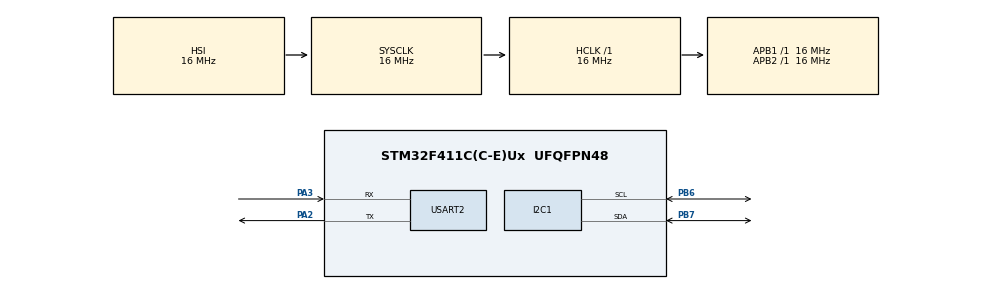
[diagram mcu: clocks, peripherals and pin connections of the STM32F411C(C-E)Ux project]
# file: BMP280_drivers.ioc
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Mcu.Family=STM32F4
Mcu.Name=STM32F411C(C-E)Ux
Mcu.Package=UFQFPN48
NVIC.PriorityGroup=NVIC_PRIORITYGROUP_4
PA2.Mode=Asynchronous
PA2.Signal=USART2_TX
PA3.Mode=Asynchronous
PA3.Signal=USART2_RX
PB6.Mode=I2C
PB6.Signal=I2C1_SCL
PB7.Mode=I2C
PB7.Signal=I2C1_SDA
ProjectManager.HeapSize=0x200
ProjectManager.StackSize=0x400
ProjectManager.TargetToolchain=STM32CubeIDE
RCC.AHBFreq_Value=16000000
RCC.APB1Freq_Value=16000000
RCC.APB2Freq_Value=16000000
RCC.CortexFreq_Value=16000000
RCC.HSE_VALUE=25000000
RCC.HSI_VALUE=16000000
RCC.LSE_VALUE=32768
RCC.SYSCLKFreq_VALUE=16000000
RCC.VCOOutputFreq_Value=192000000
USART2.VirtualMode=VM_ASYNC
board=custom

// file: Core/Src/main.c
/* USER CODE BEGIN Header */
/**
  ******************************************************************************
  * @file           : main.c
  * @brief          : Main program body
  ******************************************************************************
  * @attention
  *
  * Copyright (c) 2025 STMicroelectronics.
  * All rights reserved.
  *
  * This software is licensed under terms that can be found in the LICENSE file
  * in the root directory of this software component.
  * If no LICENSE file comes with this software, it is provided AS-IS.
  *
  ******************************************************************************
  */
/* USER CODE END Header */
#include "main.h"

/* USER CODE BEGIN Includes */
#include "stm32f4xx_hal.h"
#include "bmp280.h"
#include "bmp280_reg.h"
#include <stdio.h>
#include <stdarg.h>
/* USER CODE END Includes */

I2C_HandleTypeDef hi2c1;

UART_HandleTypeDef huart2;

void SystemClock_Config(void);
static void MX_GPIO_Init(void);
static void MX_I2C1_Init(void);
static void MX_USART2_UART_Init(void);

/* USER CODE BEGIN 0 */
void uart_printf(const char *fmt, ...) {
    char buffer[128];
    va_list args;
    va_start(args, fmt);
    int len = vsnprintf(buffer, sizeof(buffer), fmt, args);
    va_end(args);
    if (len > 0) {
        HAL_UART_Transmit(&huart2, (uint8_t*)buffer, len, HAL_MAX_DELAY);
    }
}
/* USER CODE END 0 */

int main(void)
{

  /* MCU Configuration--------------------------------------------------------*/

  /* Reset of all peripherals, Initializes the Flash interface and the Systick. */
  HAL_Init();

  /* Configure the system clock */
  SystemClock_Config();

  /* Initialize all configured peripherals */
  MX_GPIO_Init();
  MX_I2C1_Init();
  MX_USART2_UART_Init();
  /* USER CODE BEGIN 2 */
  uart_printf("BMP280 Example Start\r\n");

      bmp280_calib_t calib;   // Calibration data struct
      bmp280_data_t data;     // Sensor data struct
      uint8_t id = 0;

      // Initialize BMP280 (check ID, reset, read calibration, set config)
          HAL_StatusTypeDef status = bmp280_init(&hi2c1, BMP280_ADDR, &calib);
          uart_printf("Init status: %d\r\n", status);
          if (status != HAL_OK) {
              uart_printf("BMP280 init failed!\r\n");
              while (1);
          }
          // Read and print sensor ID
              status = bmp280_read_id(&hi2c1, BMP280_ADDR, &id);
              uart_printf("ID status: %d, value: 0x%02X\r\n", status, id);
              if (status != HAL_OK) {
                  uart_printf("Failed to read BMP280 ID!\r\n");
                  while (1);
              }
              if (id != 0x58) {
                  uart_printf("BMP280 not detected. Check wiring.\r\n");
                  while (1);
              }

              uart_printf("BMP280 detected!\r\n");

//              // --- KEY FIX: Set sensor to normal mode (temp+press oversampling x1, normal mode) ---
                  status = bmp280_write_reg(&hi2c1, BMP280_ADDR, BMP280_REG_CTRL_MEAS, 0x27);
                  uart_printf("Set CTRL_MEAS status: %d\r\n", status);
                  HAL_Delay(10); // Wait for sensor to start measuring
  /* USER CODE END 2 */

  /* Infinite loop */
  while (1)
  {
	  if (bmp280_read_data(&hi2c1, BMP280_ADDR, &calib, &data) == HAL_OK) {
		  uart_printf("Temp: %.2f C, Pressure: %.2f hPa\r\n",
		      data.temperature / 100.0, data.pressure / 100.0);
	          } else {
	              uart_printf("Sensor read error!\r\n");
	          }
	          HAL_Delay(1000);
  }
}

void SystemClock_Config(void)
{
  RCC_OscInitTypeDef RCC_OscInitStruct = {0};
  RCC_ClkInitTypeDef RCC_ClkInitStruct = {0};

  /** Configure the main internal regulator output voltage
  */
  __HAL_RCC_PWR_CLK_ENABLE();
  __HAL_PWR_VOLTAGESCALING_CONFIG(PWR_REGULATOR_VOLTAGE_SCALE1);

  /** Initializes the RCC Oscillators according to the specified parameters
  * in the RCC_OscInitTypeDef structure.
  */
  RCC_OscInitStruct.OscillatorType = RCC_OSCILLATORTYPE_HSI;
  RCC_OscInitStruct.HSIState = RCC_HSI_ON;
  RCC_OscInitStruct.HSICalibrationValue = RCC_HSICALIBRATION_DEFAULT;
  RCC_OscInitStruct.PLL.PLLState = RCC_PLL_NONE;
  if (HAL_RCC_OscConfig(&RCC_OscInitStruct) != HAL_OK)
  {
    Error_Handler();
  }

  /** Initializes the CPU, AHB and APB buses clocks
  */
  RCC_ClkInitStruct.ClockType = RCC_CLOCKTYPE_HCLK|RCC_CLOCKTYPE_SYSCLK
                              |RCC_CLOCKTYPE_PCLK1|RCC_CLOCKTYPE_PCLK2;
  RCC_ClkInitStruct.SYSCLKSource = RCC_SYSCLKSOURCE_HSI;
  RCC_ClkInitStruct.AHBCLKDivider = RCC_SYSCLK_DIV1;
  RCC_ClkInitStruct.APB1CLKDivider = RCC_HCLK_DIV1;
  RCC_ClkInitStruct.APB2CLKDivider = RCC_HCLK_DIV1;

  if (HAL_RCC_ClockConfig(&RCC_ClkInitStruct, FLASH_LATENCY_0) != HAL_OK)
  {
    Error_Handler();
  }
}

static void MX_I2C1_Init(void)
{

  hi2c1.Instance = I2C1;
  hi2c1.Init.ClockSpeed = 100000;
  hi2c1.Init.DutyCycle = I2C_DUTYCYCLE_2;
  hi2c1.Init.OwnAddress1 = 0;
  hi2c1.Init.AddressingMode = I2C_ADDRESSINGMODE_7BIT;
  hi2c1.Init.DualAddressMode = I2C_DUALADDRESS_DISABLE;
  hi2c1.Init.OwnAddress2 = 0;
  hi2c1.Init.GeneralCallMode = I2C_GENERALCALL_DISABLE;
  hi2c1.Init.NoStretchMode = I2C_NOSTRETCH_DISABLE;
  if (HAL_I2C_Init(&hi2c1) != HAL_OK)
  {
    Error_Handler();
  }

}

static void MX_USART2_UART_Init(void)
{

  huart2.Instance = USART2;
  huart2.Init.BaudRate = 115200;
  huart2.Init.WordLength = UART_WORDLENGTH_8B;
  huart2.Init.StopBits = UART_STOPBITS_1;
  huart2.Init.Parity = UART_PARITY_NONE;
  huart2.Init.Mode = UART_MODE_TX_RX;
  huart2.Init.HwFlowCtl = UART_HWCONTROL_NONE;
  huart2.Init.OverSampling = UART_OVERSAMPLING_16;
  if (HAL_UART_Init(&huart2) != HAL_OK)
  {
    Error_Handler();
  }

}

static void MX_GPIO_Init(void)
{

  /* GPIO Ports Clock Enable */
  __HAL_RCC_GPIOA_CLK_ENABLE();
  __HAL_RCC_GPIOB_CLK_ENABLE();

}

void Error_Handler(void)
{
  __disable_irq();
  while (1)
  {
  }
}
